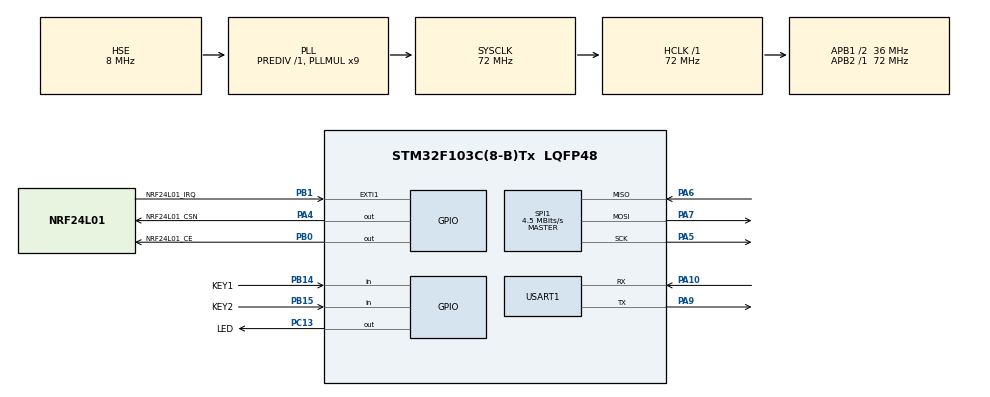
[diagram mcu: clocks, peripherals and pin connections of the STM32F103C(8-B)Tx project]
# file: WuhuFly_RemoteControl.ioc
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FREERTOS.Tasks01=MainTask,24,256,StartMainTask,Default,NULL,Dynamic,NULL,NULL;KeyTask,24,256,StartKeyTask,Default,NULL,Dynamic,NULL,NULL
Mcu.Family=STM32F1
Mcu.Name=STM32F103C(8-B)Tx
Mcu.Package=LQFP48
NVIC.EXTI1_IRQn=true\:5\:0\:true\:false\:true\:false\:true\:true
NVIC.PriorityGroup=NVIC_PRIORITYGROUP_4
NVIC.TIM4_IRQn=true\:0\:0\:false\:false\:true\:false\:false\:true
NVIC.TimeBase=TIM4_IRQn
NVIC.TimeBaseIP=TIM4
PA10.Mode=Asynchronous
PA10.Signal=USART1_RX
PA13.Mode=Serial_Wire
PA13.Signal=SYS_JTMS-SWDIO
PA14.Mode=Serial_Wire
PA14.Signal=SYS_JTCK-SWCLK
PA4.GPIO_Label=NRF24L01_CSN
PA4.PinState=GPIO_PIN_SET
PA4.Signal=GPIO_Output
PA5.Mode=Full_Duplex_Master
PA5.Signal=SPI1_SCK
PA6.Mode=Full_Duplex_Master
PA6.Signal=SPI1_MISO
PA7.Mode=Full_Duplex_Master
PA7.Signal=SPI1_MOSI
PA9.Mode=Asynchronous
PA9.Signal=USART1_TX
PB0.GPIO_Label=NRF24L01_CE
PB0.PinState=GPIO_PIN_SET
PB0.Signal=GPIO_Output
PB1.GPIO_Label=NRF24L01_IRQ
PB1.GPIO_ModeDefaultEXTI=GPIO_MODE_IT_FALLING
PB1.GPIO_PuPd=GPIO_PULLUP
PB1.Signal=GPXTI1
PB14.GPIO_Label=KEY1
PB14.GPIO_PuPd=GPIO_PULLUP
PB14.Signal=GPIO_Input
PB15.GPIO_Label=KEY2
PB15.GPIO_PuPd=GPIO_PULLUP
PB15.Signal=GPIO_Input
PC13-TAMPER-RTC.GPIO_Label=LED
PC13-TAMPER-RTC.PinState=GPIO_PIN_SET
PC13-TAMPER-RTC.Signal=GPIO_Output
PD0-OSC_IN.Mode=HSE-External-Oscillator
PD0-OSC_IN.Signal=RCC_OSC_IN
PD1-OSC_OUT.Mode=HSE-External-Oscillator
PD1-OSC_OUT.Signal=RCC_OSC_OUT
ProjectManager.HeapSize=0x200
ProjectManager.StackSize=0x400
ProjectManager.TargetToolchain=SW4STM32
RCC.AHBFreq_Value=72000000
RCC.APB1CLKDivider=RCC_HCLK_DIV2
RCC.APB1Freq_Value=36000000
RCC.APB1TimFreq_Value=72000000
RCC.APB2Freq_Value=72000000
RCC.APB2TimFreq_Value=72000000
RCC.HCLKFreq_Value=72000000
RCC.PLLMUL=RCC_PLL_MUL9
RCC.PLLSourceVirtual=RCC_PLLSOURCE_HSE
RCC.SYSCLKFreq_VALUE=72000000
RCC.SYSCLKSource=RCC_SYSCLKSOURCE_PLLCLK
RCC.USBFreq_Value=72000000
SPI1.BaudRatePrescaler=SPI_BAUDRATEPRESCALER_16
SPI1.CRCCalculation=SPI_CRCCALCULATION_DISABLE
SPI1.CalculateBaudRate=4.5 MBits/s
SPI1.Direction=SPI_DIRECTION_2LINES
SPI1.Mode=SPI_MODE_MASTER
SPI1.VirtualType=VM_MASTER
USART1.VirtualMode=VM_ASYNC
VP_FREERTOS_VS_CMSIS_V2.Mode=CMSIS_V2
VP_SYS_VS_tim4.Mode=TIM4
board=custom

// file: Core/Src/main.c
/* USER CODE BEGIN Header */
/**
  ******************************************************************************
  * @file           : main.c
  * @brief          : Main program body
  ******************************************************************************
  * @attention
  *
  * <h2><center>&copy; Copyright (c) 2020 STMicroelectronics.
  * All rights reserved.</center></h2>
  *
  * This software component is licensed by ST under Ultimate Liberty license
  * SLA0044, the "License"; You may not use this file except in compliance with
  * the License. You may obtain a copy of the License at:
  *                             www.st.com/SLA0044
  *
  ******************************************************************************
  */
/* USER CODE END Header */
#include "main.h"
#include "cmsis_os.h"
#include "spi.h"
#include "usart.h"
#include "gpio.h"

void SystemClock_Config(void);
void MX_FREERTOS_Init(void);

int main(void)
{

  /* MCU Configuration--------------------------------------------------------*/

  /* Reset of all peripherals, Initializes the Flash interface and the Systick. */
  HAL_Init();

  /* Configure the system clock */
  SystemClock_Config();

  /* Initialize all configured peripherals */
  MX_GPIO_Init();
  MX_SPI1_Init();
  MX_USART1_UART_Init();

  /* Init scheduler */
  osKernelInitialize();  /* Call init function for freertos objects (in freertos.c) */
  MX_FREERTOS_Init();
  /* Start scheduler */
  osKernelStart();

  /* We should never get here as control is now taken by the scheduler */
  /* Infinite loop */
  while (1)
  {

  }
}

void SystemClock_Config(void)
{
  RCC_OscInitTypeDef RCC_OscInitStruct = {0};
  RCC_ClkInitTypeDef RCC_ClkInitStruct = {0};

  /** Initializes the RCC Oscillators according to the specified parameters
  * in the RCC_OscInitTypeDef structure.
  */
  RCC_OscInitStruct.OscillatorType = RCC_OSCILLATORTYPE_HSE;
  RCC_OscInitStruct.HSEState = RCC_HSE_ON;
  RCC_OscInitStruct.HSEPredivValue = RCC_HSE_PREDIV_DIV1;
  RCC_OscInitStruct.HSIState = RCC_HSI_ON;
  RCC_OscInitStruct.PLL.PLLState = RCC_PLL_ON;
  RCC_OscInitStruct.PLL.PLLSource = RCC_PLLSOURCE_HSE;
  RCC_OscInitStruct.PLL.PLLMUL = RCC_PLL_MUL9;
  if (HAL_RCC_OscConfig(&RCC_OscInitStruct) != HAL_OK)
  {
    Error_Handler();
  }
  /** Initializes the CPU, AHB and APB buses clocks
  */
  RCC_ClkInitStruct.ClockType = RCC_CLOCKTYPE_HCLK|RCC_CLOCKTYPE_SYSCLK
                              |RCC_CLOCKTYPE_PCLK1|RCC_CLOCKTYPE_PCLK2;
  RCC_ClkInitStruct.SYSCLKSource = RCC_SYSCLKSOURCE_PLLCLK;
  RCC_ClkInitStruct.AHBCLKDivider = RCC_SYSCLK_DIV1;
  RCC_ClkInitStruct.APB1CLKDivider = RCC_HCLK_DIV2;
  RCC_ClkInitStruct.APB2CLKDivider = RCC_HCLK_DIV1;

  if (HAL_RCC_ClockConfig(&RCC_ClkInitStruct, FLASH_LATENCY_2) != HAL_OK)
  {
    Error_Handler();
  }
}

 /**
  * @brief  Period elapsed callback in non blocking mode
  * @note   This function is called  when TIM4 interrupt took place, inside
  * HAL_TIM_IRQHandler(). It makes a direct call to HAL_IncTick() to increment
  * a global variable "uwTick" used as application time base.
  * @param  htim : TIM handle
  * @retval None
  */
void HAL_TIM_PeriodElapsedCallback(TIM_HandleTypeDef *htim)
{
  if (htim->Instance == TIM4) {
    HAL_IncTick();
  }
}

void Error_Handler(void)
{
  __disable_irq();
  while (1)
  {
  }
}

/************************ (C) COPYRIGHT STMicroelectronics *****END OF FILE****/

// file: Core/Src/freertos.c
/* USER CODE BEGIN Header */
/**
  ******************************************************************************
  * File Name          : freertos.c
  * Description        : Code for freertos applications
  ******************************************************************************
  * @attention
  *
  * <h2><center>&copy; Copyright (c) 2020 STMicroelectronics.
  * All rights reserved.</center></h2>
  *
  * This software component is licensed by ST under Ultimate Liberty license
  * SLA0044, the "License"; You may not use this file except in compliance with
  * the License. You may obtain a copy of the License at:
  *                             www.st.com/SLA0044
  *
  ******************************************************************************
  */
/* USER CODE END Header */

#include "FreeRTOS.h"
#include "task.h"
#include "main.h"
#include "cmsis_os.h"

/* USER CODE BEGIN Includes */
#include <stdio.h>
#include "NRF24L01.h"
/* USER CODE END Includes */

/* USER CODE BEGIN Variables */
uint8_t tx_buf[TX_PLOAD_WIDTH];
/* USER CODE END Variables */
/* Definitions for MainTask */
osThreadId_t MainTaskHandle;
const osThreadAttr_t MainTask_attributes = {
  .name = "MainTask",
  .priority = (osPriority_t) osPriorityNormal,
  .stack_size = 256 * 4
};
/* Definitions for KeyTask */
osThreadId_t KeyTaskHandle;
const osThreadAttr_t KeyTask_attributes = {
  .name = "KeyTask",
  .priority = (osPriority_t) osPriorityNormal,
  .stack_size = 256 * 4
};

void StartMainTask(void *argument);
void StartKeyTask(void *argument);

void MX_FREERTOS_Init(void); /* (MISRA C 2004 rule 8.1) */

void MX_FREERTOS_Init(void) {

  /* Create the thread(s) */
  /* creation of MainTask */
  MainTaskHandle = osThreadNew(StartMainTask, NULL, &MainTask_attributes);

  /* creation of KeyTask */
  KeyTaskHandle = osThreadNew(StartKeyTask, NULL, &KeyTask_attributes);

}

void StartMainTask(void *argument)
{
  /* USER CODE BEGIN StartMainTask */
    if(NRF24L01_Check()) {
        printf("NRF24L01 Error\r\n");
    } else{
        printf("NRF24L01 OK\r\n");
    }
    NRF24L01_RX_Mode();
  /* Infinite loop */
  for(;;)
  {
      HAL_GPIO_TogglePin(LED_GPIO_Port, LED_Pin);
      osDelay(100);
  }
  /* USER CODE END StartMainTask */
}

void StartKeyTask(void *argument)
{
  /* USER CODE BEGIN StartKeyTask */
    uint8_t key_state;
  /* Infinite loop */
  for(;;)
  {
      //扫描按键
      key_state = 0;
      if (HAL_GPIO_ReadPin(KEY1_GPIO_Port,KEY1_Pin)==GPIO_PIN_RESET){
          osDelay(10);
          if(HAL_GPIO_ReadPin(KEY1_GPIO_Port,KEY1_Pin)==GPIO_PIN_RESET)
          {
              key_state = 1;
          }
          while(HAL_GPIO_ReadPin(KEY1_GPIO_Port,KEY1_Pin)==GPIO_PIN_RESET)
          {
              osDelay(1);
          }
      }
      else if (HAL_GPIO_ReadPin(KEY2_GPIO_Port,KEY2_Pin)==GPIO_PIN_RESET){
          osDelay(10);
          if(HAL_GPIO_ReadPin(KEY2_GPIO_Port,KEY2_Pin)==GPIO_PIN_RESET)
          {
              key_state = 2;
          }
          while(HAL_GPIO_ReadPin(KEY2_GPIO_Port,KEY2_Pin)==GPIO_PIN_RESET)
          {
              osDelay(1);
          }
      }

      switch (key_state) {
          case 1://开始
              NRF24L01_TX_Mode();
              tx_buf[0] = 1;
              while (NRF24L01_TxPacket(tx_buf) != TX_OK) {
                  osDelay(1);
              }
              NRF24L01_RX_Mode();
              break;

          case 2://停止
              NRF24L01_TX_Mode();
              tx_buf[0] = 2;
              while (NRF24L01_TxPacket(tx_buf) != TX_OK) {
                  osDelay(1);
                  printf("Error!\r\n");
              }
              NRF24L01_RX_Mode();
              break;

          default:
              break;
      }
      osDelay(1);
  }
  /* USER CODE END StartKeyTask */
}

/************************ (C) COPYRIGHT STMicroelectronics *****END OF FILE****/
